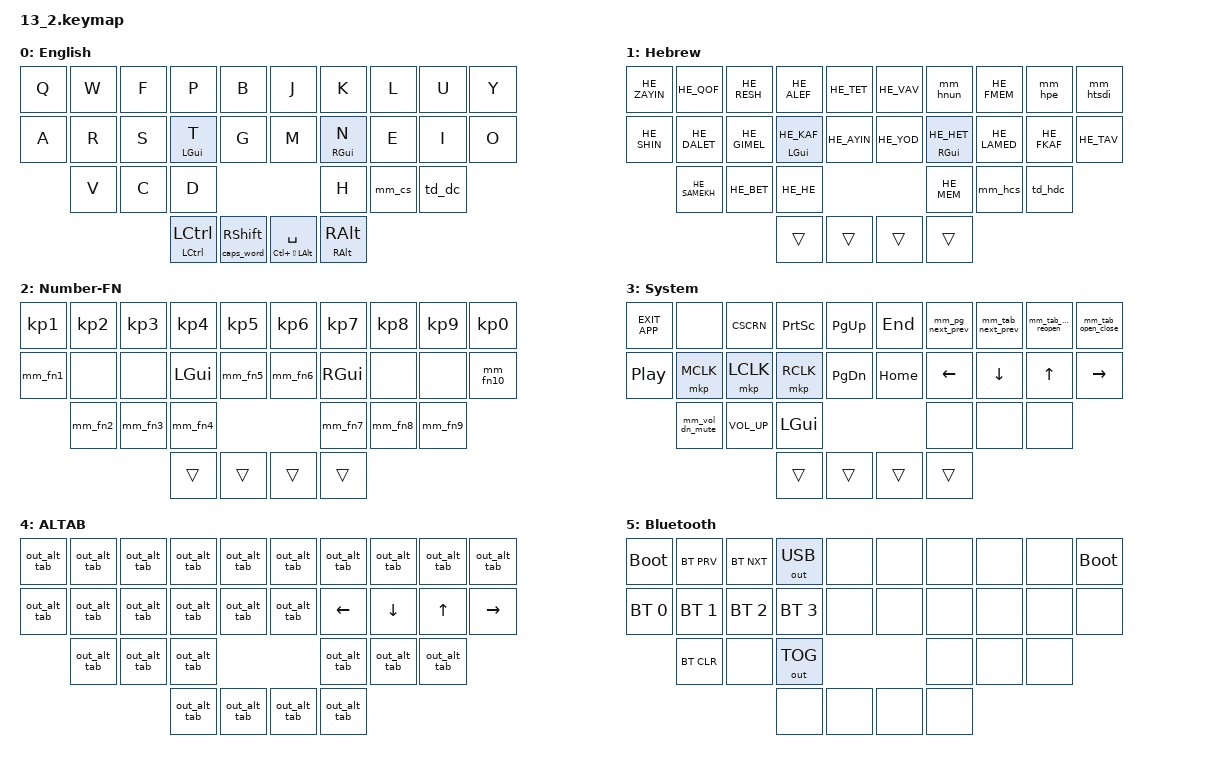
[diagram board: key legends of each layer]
/*
 * Copyright (c) 2020 The ZMK Contributors
 *
 * SPDX-License-Identifier: MIT
 */

#include <dt-bindings/zmk/mouse.h>

// Hebrew Keymap

#include "keys_hebrew.h"

// Extra Keys

#include "shortcut.h"
#include <behaviors.dtsi>
#include <dt-bindings/zmk/bt.h>
#include <dt-bindings/zmk/keys.h>
#include <dt-bindings/zmk/outputs.h>

#define MEH LC(LS(LALT))
#define HYP LC(LS(LA(LGUI)))

// Behavior Defaults

&mt {
    tapping_term_ms = <200>;
    flavor = "tap-preferred";
};

&sk {
    release-after-ms = <2000>;
    quick-release;
};

&caps_word { continue-list = <BACKSPACE DELETE UNDERSCORE MINUS BSPC DEL NUMBER_1 NUMBER_2 NUMBER_3 NUMBER_4 NUMBER_5 NUMBER_6 NUMBER_7 NUMBER_8 NUMBER_9 NUMBER_0 N1 N2 N3 N4 N5 N6 N7 N8 N9 N0 KP_N1 KP_N2 KP_N3 KP_N4 KP_N5 KP_N6 KP_N7 KP_N8 KP_N9 KP_N0>; };

// Behaviors Constants

#define long_tap 200
#define short_tap 150

// Combos Constants
// #define default_timeout 50
// Layers

#define ENG    0
#define HEB    1
#define NUM    2
#define SYS    3

// #define MSNV   4

#define ALTAB  4 // 5
#define BLTH   5 // 6

/* Source: https://github.com/caksoylar/zmk-config

#define COMBO(NAME, BINDINGS, KEYPOS, LAYERS, TERM, QUICKTAP) \
   combo_##NAME { \
     timeout-ms = <TERM>; \
     bindings = <BINDINGS>; \
     key-positions = <KEYPOS>; \
     layers = <LAYERS>; \
     global-quick-tap-ms = <QUICKTAP>; \
   };
*/
/*
* KEY POSITIONS - 30 Key Matrix
* ╭─────────────────────╮ ╭─────────────────────╮
* │ LT4 LT3 LT2 LT1 LT0 │ │ RT0 RT1 RT2 RT3 RT4 │
* │ LM4 LM3 LM2 LM1 LM0 │ │ RM0 RM1 RM2 RM3 RM4 │
* │     LB3 LB2 LB1     │ │     RB1 RB2 RB3     │
* ╰───────────╮ LH1 LH0 │ │ RH0 RH1 ╭───────────╯
*             ╰─────────╯ ╰─────────╯ 
* 
* ╭──────────────╮ ╭──────────────╮
* │ 0  1  2  3  4│ │ 5  6  7  8  9│
* │10 11 12 13 14│ │15 16 17 18 19│
* │   20 21 22   │ │   23 24 25   │
* ╰────────╮26 27│ │28 29╭────────╯
*          ╰─────╯ ╰─────╯         
*/

/ {
    combos {
        compatible = "zmk,combos";

        // To Layer

        combo_english {
            bindings = <&to 0>;
            key-positions = <29 26>;
            timeout-ms = <50>;
        };

        combo_hebrew {
            bindings = <&to_hebrew>;
            key-positions = <14 15>;
            timeout-ms = <50>;
            layers = <0 2 3 5>;
        };

        combo_out_hebrew {
            bindings = <&out_hebrew>;
            key-positions = <14 15>;
            timeout-ms = <50>;
            layers = <1>;
        };

        combo_number {
            bindings = <&to 2>;
            key-positions = <26 27>;
            timeout-ms = <50>;
            layers = <0 1 3 5>;
        };

        combo_keyboard_nav {
            bindings = <&to 3>;
            key-positions = <28 29>;
            timeout-ms = <50>;
            layers = <0 1 2 5>;
        };

        combo_bluetooth_mid_index {
            bindings = <&to 5>;
            key-positions = <2 3 6 7>;
            timeout-ms = <50>;
            layers = <0 1 2 3>;
        };

        combo_bluetooth_left {
            bindings = <&to 5>;
            key-positions = <0 1 2 3>;
            timeout-ms = <50>;
        };

        // General

        combo_tab {
            bindings = <&mm_alt_tab>;
            key-positions = <0 10>;
            timeout-ms = <50>;
            layers = <0 1 2 3>;
        };

        combo_escape {
            bindings = <&kp ESCAPE>;
            key-positions = <4 14>;
            timeout-ms = <50>;
            layers = <0 1 2 3>;
        };

        combo_bspc_del {
            bindings = <&mm_back_del>;
            key-positions = <5 15>;
            timeout-ms = <50>;
            layers = <0 1 2 3>;
        };

        combo_return {
            bindings = <&kp RETURN>;
            key-positions = <19 9>;
            timeout-ms = <50>;
            layers = <0 1 2 3>;
        };

        combo_caps {
            bindings = <&kp CAPSLOCK>;
            key-positions = <4 5>;
            timeout-ms = <50>;
            layers = <0 1 2>;
        };

        // Shortcuts

        combo_undo {
            bindings = <&kp LC(Z)>;
            key-positions = <10 20>;
            timeout-ms = <50>;
            layers = <0 1 2 3>;
        };

        combo_copy {
            bindings = <&kp LC(C)>;
            key-positions = <11 0>;
            timeout-ms = <50>;
            layers = <0 1 2 3>;
        };

        combo_paste {
            bindings = <&kp LC(V)>;
            key-positions = <9 18>;
            timeout-ms = <50>;
            layers = <0 1 2 3>;
        };

        combo_redo {
            bindings = <&kp LC(Y)>;
            key-positions = <19 25>;
            timeout-ms = <50>;
            layers = <0 1 2 3>;
        };

        // Top Row (Left to Right)
        // Left

        combo_less_than_equal {
            bindings = <&mm_le>;
            key-positions = <1 0>;
            timeout-ms = <50>;
            layers = <0 1 2>;
        };

        combo_lbrace {
            bindings = <&kp LEFT_BRACE>;
            key-positions = <2 1>;
            timeout-ms = <50>;
            layers = <0 1 2>;
        };

        combo_lbracket {
            bindings = <&kp LEFT_BRACKET>;
            key-positions = <2 3>;
            timeout-ms = <50>;
            layers = <0 1 2>;
        };

        combo_lparenthesis {
            bindings = <&kp LEFT_PARENTHESIS>;
            key-positions = <4 3>;
            timeout-ms = <50>;
            layers = <0 1 2>;
        };

        // Right

        combo_rparenthesis {
            bindings = <&kp RIGHT_PARENTHESIS>;
            key-positions = <6 5>;
            timeout-ms = <50>;
            layers = <0 1 2>;
        };

        combo_rbracket {
            bindings = <&kp RIGHT_BRACKET>;
            key-positions = <7 6>;
            timeout-ms = <50>;
            layers = <0 1 2>;
        };

        combo_rbrace {
            bindings = <&kp RIGHT_BRACE>;
            key-positions = <7 8>;
            timeout-ms = <50>;
            layers = <0 1 2>;
        };

        combo_greater_than_equal {
            bindings = <&mm_ge>;
            key-positions = <8 9>;
            timeout-ms = <50>;
            layers = <0 1 2>;
        };

        // Top-Home Row (Left to Right)
        // Left

        combo_at_sign {
            bindings = <&kp AT_SIGN>;
            key-positions = <1 11>;
            timeout-ms = <50>;
            layers = <0 1 2>;
        };

        combo_hash {
            bindings = <&kp HASH>;
            key-positions = <2 12>;
            timeout-ms = <50>;
            layers = <0 1 2>;
        };

        combo_dollar {
            bindings = <&kp DOLLAR>;
            key-positions = <3 13>;
            timeout-ms = <50>;
            layers = <0 2>;
        };

        combo_shekel {
            bindings = <&kp HE_NEW_SHEQEL>;
            key-positions = <3 13>;
            timeout-ms = <50>;
            layers = <1>;
        };

        // Right

        combo_quote {
            bindings = <&td_stq>;
            key-positions = <17 24>;
            timeout-ms = <50>;
            layers = <0 2>;
        };

        combo_heb_quote {
            bindings = <&td_hstq>;
            key-positions = <17 24>;
            timeout-ms = <50>;
            layers = <1>;
        };

        combo_asterisk {
            bindings = <&kp ASTERISK>;
            key-positions = <7 17>;
            timeout-ms = <50>;
            layers = <0 1 2>;
        };

        combo_fslash {
            bindings = <&kp SLASH>;
            key-positions = <18 8>;
            timeout-ms = <50>;
            layers = <0 1 2>;
        };

        // Home-Bottom Row (Left to Right)
        // Left

        combo_backtick {
            bindings = <&kp GRAVE>;
            key-positions = <13 22>;
            timeout-ms = <50>;
            layers = <0 1 2>;
        };

        combo_underscore {
            bindings = <&kp UNDERSCORE>;
            key-positions = <16 23>;
            timeout-ms = <50>;
            layers = <0 1 2>;
        };

        combo_ampersand {
            bindings = <&kp AMPERSAND>;
            key-positions = <6 16>;
            timeout-ms = <50>;
            layers = <0 1 2>;
        };

        // Right

        combo_question_exclamation {
            bindings = <&td_qe>;
            key-positions = <18 25>;
            timeout-ms = <50>;
            layers = <0 2>;
        };

        combo_heb_question_exclamation {
            bindings = <&td_hqe>;
            key-positions = <18 25>;
            timeout-ms = <50>;
            layers = <1>;
        };

        // Index-Inner
        // Left

        combo_tilde {
            bindings = <&kp TILDE>;
            key-positions = <13 14>;
            timeout-ms = <50>;
            layers = <0 1 2>;
        };

        // Right

        combo_equal_unequal {
            bindings = <&mm_eq>;
            key-positions = <15 16>;
            timeout-ms = <50>;
            layers = <0 1 2>;
        };

        // Bottom row
        // Left

        combo_caret {
            bindings = <&kp CARET>;
            key-positions = <20 21>;
            timeout-ms = <50>;
            layers = <0 1 2>;
        };

        combo_percent {
            bindings = <&kp PERCENT>;
            key-positions = <21 22>;
            timeout-ms = <50>;
            layers = <0 1 2>;
        };

        combo_bslash {
            bindings = <&kp BACKSLASH>;
            key-positions = <22 14>;
            timeout-ms = <50>;
            layers = <0 1 2>;
        };

        // Right

        combo_pipe {
            bindings = <&kp PIPE>;
            key-positions = <15 23>;
            timeout-ms = <50>;
            layers = <0 1 2>;
        };

        combo_plus {
            bindings = <&kp PLUS>;
            key-positions = <23 24>;
            timeout-ms = <50>;
            layers = <0 1 2>;
        };

        combo_hyphen {
            bindings = <&kp MINUS>;
            timeout-ms = <50>;
            key-positions = <24 25>;
            layers = <0 1 2>;
        };

        combo_z {
            bindings = <&kp Z>;
            key-positions = <11 20>;
            layers = <0>;
        };

        combo_x {
            bindings = <&kp X>;
            key-positions = <21 12>;
        };
    };

    behaviors {
        hmr: homerow_mods_right {
            compatible = "zmk,behavior-hold-tap";
            #binding-cells = <2>;
            tapping-term-ms = <200>;
            quick_tap_ms = <0>;
            flavor = "tap-preferred";
            bindings = <&kp>, <&kp>;

            hold-trigger-key-positions = <0 1 2 3 4 10 11 12 13 14 20 21 22 30 31>;
        };

        hml: homerow_mods_left {
            compatible = "zmk,behavior-hold-tap";
            #binding-cells = <2>;
            tapping-term-ms = <200>;
            quick_tap_ms = <0>;
            flavor = "tap-preferred";
            bindings = <&kp>, <&kp>;

            hold-trigger-key-positions = <5 6 7 8 9 15 16 17 18 19 25 32 33 23 24>;
        };

        sht: sticky_hold_tap {
            compatible = "zmk,behavior-hold-tap";
            #binding-cells = <2>;
            tapping-term-ms = <200>;
            quick_tap_ms = <0>;
            flavor = "tap-preferred";
            bindings = <&sk>, <&kp>;
        };

        khst: key_hold_sticky_tap {
            compatible = "zmk,behavior-hold-tap";
            #binding-cells = <2>;
            tapping-term-ms = <200>;
            quick_tap_ms = <0>;
            flavor = "tap-preferred";
            bindings = <&kp>, <&sk>;
        };

        scw: sticky_shift_capsword {
            compatible = "zmk,behavior-hold-tap";
            #binding-cells = <2>;
            tapping-term-ms = <200>;
            quick_tap_ms = <0>;
            flavor = "tap-preferred";
            bindings = <&caps_word>, <&sk>;
        };

        // PUNCTUATION: English
        // Mod-Morph: Period "."; Colon ":"

        mm_dc: morph_period_colon {
            compatible = "zmk,behavior-mod-morph";
            #binding-cells = <0>;
            mods = <(MOD_LSFT|MOD_RSFT)>;
            bindings = <&kp PERIOD>, <&kp COLON>;
        };

        // Tap-Dance: 1) Mod-Morph Period-Colon; 2) Ellipsis "..."

        td_dc: tap_dot_colon {
            compatible = "zmk,behavior-tap-dance";
            #binding-cells = <0>;
            tapping-term-ms = <150>;
            bindings = <&mm_dc>, <&ellipsis>;
        };

        // Mod-Morph: Comma ","; Semicolon ";"

        mm_cs: morph_comma_semicolon {
            compatible = "zmk,behavior-mod-morph";
            #binding-cells = <0>;
            mods = <(MOD_LSFT|MOD_RSFT)>;
            bindings = <&kp COMMA>, <&kp SEMICOLON>;
        };

        // Tap-Dance: 1) Comma ","; 2) Semicolon ";"

        td_cs: tap_comma_semicolon {
            compatible = "zmk,behavior-tap-dance";
            #binding-cells = <0>;
            tapping-term-ms = <150>;
            bindings = <&kp COMMA>, <&kp SEMICOLON>;
        };

        // Tap-Dance: 1) Single quote "'/""; 2) Triple-double quote """""

        td_stq: tap_single_triple_quote {
            compatible = "zmk,behavior-tap-dance";
            #binding-cells = <0>;
            tapping-term-ms = <150>;
            bindings = <&kp SINGLE_QUOTE>, <&tri_dquote>;
        };

        // Mod-Morph: Question "?"; Exclamation "!"

        mm_qe: morph_question_exclamation {
            compatible = "zmk,behavior-mod-morph";
            #binding-cells = <0>;
            mods = <(MOD_LSFT|MOD_RSFT)>;
            bindings = <&kp QUESTION>, <&kp EXCLAMATION>;
        };

        // Tap-Dance: 1) Mod-Morph Question-Exclamation; 2) Triple Question "???"

        td_qe: tap_ques_excl {
            compatible = "zmk,behavior-tap-dance";
            #binding-cells = <0>;
            tapping-term-ms = <150>;
            bindings = <&mm_qe>, <&tri_ques>;
        };

        // PUNCTUATION: Hebrew
        // Mod-Morph: Period "."; Colon ":"

        mm_hdc: morph_heb_period_colon {
            compatible = "zmk,behavior-mod-morph";
            #binding-cells = <0>;
            mods = <(MOD_LSFT|MOD_RSFT)>;
            bindings = <&kp HE_PERIOD>, <&kp HE_COLON>;
        };

        // 1) Mod-Morph Period-Colon; 2) Ellipsis "..."

        td_hdc: tap_heb_dot_colon {
            compatible = "zmk,behavior-tap-dance";
            #binding-cells = <0>;
            tapping-term-ms = <150>;
            bindings = <&mm_hdc>, <&heb_ellipsis>;
        };

        // Mod-Morph: Comma ","; Semicolon ";"

        mm_hcs: morph_heb_comma_semicolon {
            compatible = "zmk,behavior-mod-morph";
            #binding-cells = <0>;
            mods = <(MOD_LSFT|MOD_RSFT)>;
            bindings = <&kp HE_COMMA>, <&kp HE_SEMICOLON>;
        };

        // Tap-Dance: 1) Comma ","; 2) Semicolon ";"

        td_hcs: tap_heb_comma_semicolon {
            compatible = "zmk,behavior-tap-dance";
            #binding-cells = <0>;
            tapping-term-ms = <150>;
            bindings = <&kp HE_COMMA>, <&kp HE_SEMICOLON>;
        };

        // Mod-Morph: Single Quote "'"; Double Quote """

        mm_hsdq: morph_heb_single_double_quote {
            compatible = "zmk,behavior-mod-morph";
            #binding-cells = <0>;
            mods = <(MOD_LSFT|MOD_RSFT)>;
            bindings = <&kp HE_SINGLE_QUOTE>, <&kp HE_DOUBLE_QUOTES>;
        };

        // Tap-Dance: 1) Mod-Morph Single-Double Quote; 2) Triple-Double Quote """""

        td_hstq: tap_heb_single_triple_quote {
            compatible = "zmk,behavior-tap-dance";
            #binding-cells = <0>;
            tapping-term-ms = <150>;
            bindings = <&mm_hsdq>, <&heb_tri_dquote>;
        };

        // Mod-Morph: Question "?"; Exclamation "!"

        mm_hqe: morph_heb_question_exclamation {
            compatible = "zmk,behavior-mod-morph";
            #binding-cells = <0>;
            mods = <(MOD_LSFT|MOD_RSFT)>;
            bindings = <&kp HE_QUESTION>, <&kp HE_EXCLAMATION>;
        };

        // Tap-Dance: 1) Mod-Morph Question-Exclamation; 2) Triple Question Mark "???"

        td_hqe: tap_heb_ques_excl {
            compatible = "zmk,behavior-tap-dance";
            #binding-cells = <0>;
            tapping-term-ms = <150>;
            bindings = <&mm_hqe>, <&heb_tri_ques>;
        };

        // Mod-Morph: Nun פ; Final Nun ף

        mm_hnun: morph_heb_nun {
            compatible = "zmk,behavior-mod-morph";
            #binding-cells = <0>;
            mods = <(MOD_LSFT|MOD_RSFT)>;
            bindings = <&kp HE_NUN>, <&kp HE_FNUN>;
        };

        // Mod-Morph: Peh פ; Final Peh ף

        mm_hpe: morph_heb_pe {
            compatible = "zmk,behavior-mod-morph";
            #binding-cells = <0>;
            mods = <(MOD_LSFT|MOD_RSFT)>;
            bindings = <&kp HE_PE>, <&kp HE_FPE>;
        };

        // Mod-Morph: Tsadi צ; Final Tsadi ץ

        mm_htsdi: morph_heb_tsadi {
            compatible = "zmk,behavior-mod-morph";
            #binding-cells = <0>;
            mods = <(MOD_LSFT|MOD_RSFT)>;
            bindings = <&kp HE_TSADI>, <&kp HE_FTSADI>;
        };

        // MOD MORPHS
        // GENERAL

        mm_back_del: morph_backspace_delete {
            compatible = "zmk,behavior-mod-morph";
            #binding-cells = <0>;
            mods = <(MOD_LSFT|MOD_RSFT)>;
            bindings = <&kp BACKSPACE>, <&kp DELETE>;
        };

        mm_alt_tab: morph_alt_tab_switcher {
            compatible = "zmk,behavior-mod-morph";
            #binding-cells = <0>;
            mods = <(MOD_LALT|MOD_RALT)>;
            bindings = <&kp TAB>, <&to_alt_tab>;
        };

        mm_vol_dn_mute: morph_volume_down_mute {
            compatible = "zmk,behavior-mod-morph";
            #binding-cells = <0>;
            mods = <(MOD_LSFT|MOD_RCTL)>;
            bindings = <&kp C_VOL_DN>, <&kp C_MUTE>;
        };

        // LAYER
        // To ENGLISH; Shifted: To Hebrew

        mm_base: morph_base_eng_heb {
            compatible = "zmk,behavior-mod-morph";
            #binding-cells = <0>;
            mods = <(MOD_LSFT|MOD_RSFT)>;
            bindings = <&to 0>, <&to 1>;
        };

        // To KEYBOARD; Shifted: To MOUSE

        mm_nav: morph_nav_kb_ms {
            compatible = "zmk,behavior-mod-morph";
            #binding-cells = <0>;
            mods = <(MOD_LSFT|MOD_RSFT)>;
            bindings = <&to 3>, <&to 5>;
        };

        // To SYMBOL; Shifted: To KEYBOARD

        mm_num_kb: morph_sym_nav_kb {
            compatible = "zmk,behavior-mod-morph";
            #binding-cells = <0>;
            mods = <(MOD_LSFT|MOD_RSFT)>;
            bindings = <&to 2>, <&to 3>;
        };

        // To SYMBOL; Shifted: To MOUSE

        mm_sym_ms: morph_sym_nav_ms {
            compatible = "zmk,behavior-mod-morph";
            #binding-cells = <0>;
            mods = <(MOD_LSFT|MOD_RSFT)>;
            bindings = <&to 2>, <&to 5>;
        };

        // INTERNET SHORTCUTS

        mm_tab_next_prev: morph_internet_tab_next_prev {
            compatible = "zmk,behavior-mod-morph";
            #binding-cells = <0>;
            mods = <(MOD_LSFT|MOD_RSFT)>;
            bindings = <&kp RC(TAB)>, <&kp RC(RS(TAB))>;
        };

        mm_tab_open_close: morph_internet_tab_open_close {
            compatible = "zmk,behavior-mod-morph";
            #binding-cells = <0>;
            mods = <(MOD_LSFT|MOD_RCTL)>;
            bindings = <&kp RC(T)>, <&kp LC(W)>;
        };

        mm_tab_refresh_reopen: morph_internet_tab_refresh_reop {
            compatible = "zmk,behavior-mod-morph";
            #binding-cells = <0>;
            mods = <(MOD_LSFT|MOD_RCTL)>;
            bindings = <&kp RC(R)>, <&kp LS(LC(T))>;
        };

        mm_pg_next_prev: morph_internet_page_next_prev {
            compatible = "zmk,behavior-mod-morph";
            #binding-cells = <0>;
            mods = <(MOD_LSFT|MOD_RSFT)>;
            bindings = <&kp LA(RIGHT_ARROW)>, <&kp LA(LEFT_ARROW)>;
        };

        // FUNCTION PLUS TEN

        mm_fn1: morph_func_1_11 {
            compatible = "zmk,behavior-mod-morph";
            #binding-cells = <0>;
            mods = <(MOD_LSFT|MOD_RSFT)>;
            bindings = <&kp F1>, <&kp F11>;
        };

        mm_fn2: morph_func_2_12 {
            compatible = "zmk,behavior-mod-morph";
            #binding-cells = <0>;
            mods = <(MOD_LSFT|MOD_RSFT)>;
            bindings = <&kp F2>, <&kp F12>;
        };

        mm_fn3: morph_func_3_13 {
            compatible = "zmk,behavior-mod-morph";
            #binding-cells = <0>;
            mods = <(MOD_LSFT|MOD_RSFT)>;
            bindings = <&kp F3>, <&kp F13>;
        };

        mm_fn4: morph_func_4_14 {
            compatible = "zmk,behavior-mod-morph";
            #binding-cells = <0>;
            mods = <(MOD_LSFT|MOD_RSFT)>;
            bindings = <&kp F4>, <&kp F14>;
        };

        mm_fn5: morph_func_5_15 {
            compatible = "zmk,behavior-mod-morph";
            #binding-cells = <0>;
            mods = <(MOD_LSFT|MOD_RSFT)>;
            bindings = <&kp F5>, <&kp F15>;
        };

        mm_fn6: morph_func_6_16 {
            compatible = "zmk,behavior-mod-morph";
            #binding-cells = <0>;
            mods = <(MOD_LSFT|MOD_RSFT)>;
            bindings = <&kp F6>, <&kp F16>;
        };

        mm_fn7: morph_func_7_17 {
            compatible = "zmk,behavior-mod-morph";
            #binding-cells = <0>;
            mods = <(MOD_LSFT|MOD_RSFT)>;
            bindings = <&kp F7>, <&kp F17>;
        };

        mm_fn8: morph_func_8_18 {
            compatible = "zmk,behavior-mod-morph";
            #binding-cells = <0>;
            mods = <(MOD_LSFT|MOD_RSFT)>;
            bindings = <&kp F8>, <&kp F18>;
        };

        mm_fn9: morph_func_9_19 {
            compatible = "zmk,behavior-mod-morph";
            #binding-cells = <0>;
            mods = <(MOD_LSFT|MOD_RSFT)>;
            bindings = <&kp F9>, <&kp F19>;
        };

        mm_fn10: morph_func_10_20 {
            compatible = "zmk,behavior-mod-morph";
            #binding-cells = <0>;
            mods = <(MOD_LSFT|MOD_RSFT)>;
            bindings = <&kp F10>, <&kp F20>;
        };

        // MATH OPERATORS

        mm_eq: morph_un_equal {
            compatible = "zmk,behavior-mod-morph";
            #binding-cells = <0>;
            mods = <(MOD_LSFT|MOD_RSFT)>;
            bindings = <&kp EQUAL>, <&unequal>;
        };

        mm_ge: morph_greater_equal {
            compatible = "zmk,behavior-mod-morph";
            #binding-cells = <0>;
            mods = <(MOD_LSFT|MOD_RSFT)>;
            bindings = <&kp GREATER_THAN>, <&gr_equal>;
        };

        mm_le: morph_less_than_equal {
            compatible = "zmk,behavior-mod-morph";
            #binding-cells = <0>;
            mods = <(MOD_LSFT|MOD_RSFT)>;
            bindings = <&kp LESS_THAN>, <&ls_equal>;
        };
    };

    macros {
        to_hebrew: to_hebrew {
            compatible = "zmk,behavior-macro";
            #binding-cells = <0>;
            bindings = <&kp LG(SPACE) &to 1>;
        };

        out_hebrew: out_hebrew {
            compatible = "zmk,behavior-macro";
            #binding-cells = <0>;
            bindings = <&kp LG(SPACE) &to 0>;
        };

        to_alt_tab: to_alt_tab {
            compatible = "zmk,behavior-macro";
            #binding-cells = <0>;
            bindings =
                <&macro_press>,
                <&mo 4>,
                <&macro_press>,
                <&kp LEFT_ALT>,
                <&macro_tap>,
                <&kp TAB>;
        };

        out_alt_tab: alt_tab_x {
            compatible = "zmk,behavior-macro";
            #binding-cells = <0>;
            bindings = <&macro_release>, <&kp LEFT_ALT &mo 4>;
        };

        ellipsis: ellipsis {
            compatible = "zmk,behavior-macro";
            #binding-cells = <0>;
            bindings = <&kp DOT &kp DOT &kp DOT>;
        };

        heb_ellipsis: heb_ellipsis {
            compatible = "zmk,behavior-macro";
            #binding-cells = <0>;
            bindings = <&kp HE_DOT &kp HE_DOT &kp HE_DOT>;
        };

        tri_dquote: triple_double_quote {
            compatible = "zmk,behavior-macro";
            #binding-cells = <0>;
            bindings = <&kp DQT &kp DQT &kp DQT>;
        };

        heb_tri_dquote: heb_triple_double_quote {
            compatible = "zmk,behavior-macro";
            #binding-cells = <0>;
            bindings = <&kp HE_DQT &kp HE_DQT &kp HE_DQT>;
        };

        tri_ques: triple_question {
            compatible = "zmk,behavior-macro";
            #binding-cells = <0>;
            bindings = <&kp QUESTION &kp QUESTION &kp QUESTION>;
        };

        heb_tri_ques: heb_triple_question {
            compatible = "zmk,behavior-macro";
            #binding-cells = <0>;
            bindings = <&kp HE_QUESTION &kp HE_QUESTION &kp HE_QUESTION>;
        };

        gr_equal: greater_than_equal {
            compatible = "zmk,behavior-macro";
            #binding-cells = <0>;
            bindings = <&kp GREATER_THAN &kp EQUAL>;
        };

        ls_equal: less_than_equal {
            compatible = "zmk,behavior-macro";
            #binding-cells = <0>;
            bindings = <&kp LESS_THAN &kp EQUAL>;
        };

        unequal: exclamation_equal {
            compatible = "zmk,behavior-macro";
            #binding-cells = <0>;
            bindings = <&kp EXCLAMATION &kp EQUAL>;
        };
    };

    keymap {
        compatible = "zmk,keymap";

        ENG {
            display-name = "English";
            bindings = <
&kp Q  &kp W  &kp F  &kp P              &kp B                &kp J           &kp K            &kp L   &kp U   &kp Y
&kp A  &kp R  &kp S  &hml LGUI T        &kp G                &kp M           &hmr RGUI N      &kp E   &kp I   &kp O
       &kp V  &kp C  &kp D                                                   &kp H            &mm_cs  &td_dc
                     &khst LCTRL LCTRL  &scw 0 RSHIFT        &sht MEH SPACE  &khst RALT RALT
            >;
        };

        HEB {
            display-name = "Hebrew";
            bindings = <
&kp HE_ZAYIN  &kp HE_QOF     &kp HE_RESH   &kp HE_ALEF       &kp HE_TET         &kp HE_VAV  &mm_hnun          &kp HE_FMEM   &mm_hpe      &mm_htsdi
&kp HE_SHIN   &kp HE_DALET   &kp HE_GIMEL  &hml LGUI HE_KAF  &kp HE_AYIN        &kp HE_YOD  &hmr RGUI HE_HET  &kp HE_LAMED  &kp HE_FKAF  &kp HE_TAV
              &kp HE_SAMEKH  &kp HE_BET    &kp HE_HE                                        &kp HE_MEM        &mm_hcs       &td_hdc
                                           &trans            &trans             &trans      &trans
            >;
        };

        NUM {
            display-name = "Number-FN";
            bindings = <
&kp KP_N1  &kp KP_N2  &kp KP_N3  &kp KP_N4  &kp KP_N5        &kp KP_N6  &kp KP_N7  &kp KP_N8  &kp KP_N9  &kp KP_N0
&mm_fn1    &none      &none      &kp LGUI   &mm_fn5          &mm_fn6    &kp RGUI   &none      &none      &mm_fn10
           &mm_fn2    &mm_fn3    &mm_fn4                                &mm_fn7    &mm_fn8    &mm_fn9
                                 &trans     &trans           &trans     &trans
            >;
        };

        SYS {
            display-name = "System";
            bindings = <
&kp EXIT_APP  &none            &kp CSCRN     &kp PSCRN  &kp PG_UP        &kp END   &mm_pg_next_prev  &mm_tab_next_prev  &mm_tab_refresh_reopen  &mm_tab_open_close
&kp C_PP      &mkp MCLK        &mkp LCLK     &mkp RCLK  &kp PG_DN        &kp HOME  &kp LEFT          &kp DOWN           &kp UP                  &kp RIGHT
              &mm_vol_dn_mute  &kp C_VOL_UP  &kp LGUI                              &none             &none              &none
                                             &trans     &trans           &trans    &trans
            >;
        };

        ALTAB {
            bindings = <
&out_alt_tab  &out_alt_tab  &out_alt_tab  &out_alt_tab  &out_alt_tab        &out_alt_tab  &out_alt_tab  &out_alt_tab  &out_alt_tab  &out_alt_tab
&out_alt_tab  &out_alt_tab  &out_alt_tab  &out_alt_tab  &out_alt_tab        &out_alt_tab  &kp LEFT      &kp DOWN      &kp UP        &kp RIGHT
              &out_alt_tab  &out_alt_tab  &out_alt_tab                                    &out_alt_tab  &out_alt_tab  &out_alt_tab
                                          &out_alt_tab  &out_alt_tab        &out_alt_tab  &out_alt_tab
            >;
        };

        BLTH {
            display-name = "Bluetooth";
            bindings = <
&bootloader   &bt BT_PRV    &bt BT_NXT    &out OUT_USB  &none        &none  &none  &none  &none  &bootloader
&bt BT_SEL 0  &bt BT_SEL 1  &bt BT_SEL 2  &bt BT_SEL 3  &none        &none  &none  &none  &none  &none
              &bt BT_CLR    &none         &out OUT_TOG                      &none  &none  &none
                                          &none         &none        &none  &none
            >;
        };
    };
};
